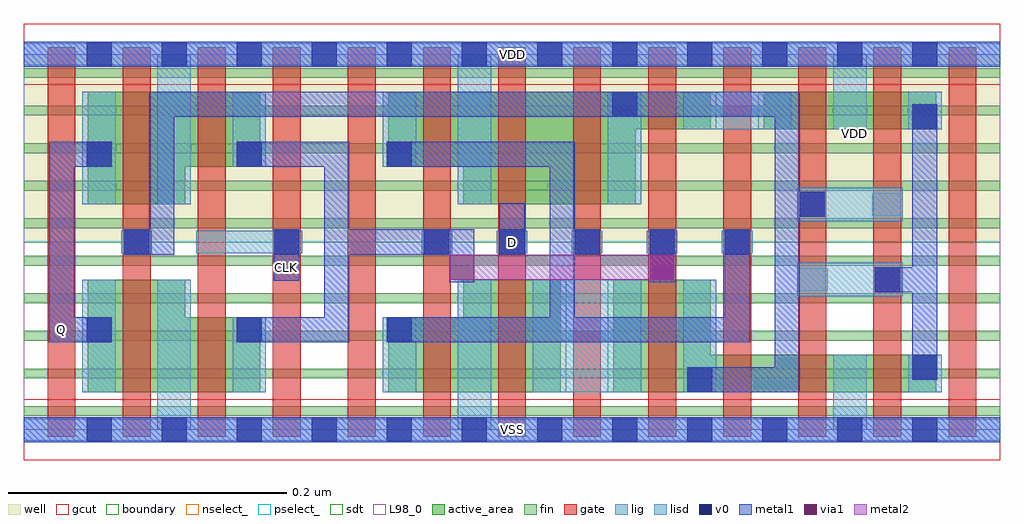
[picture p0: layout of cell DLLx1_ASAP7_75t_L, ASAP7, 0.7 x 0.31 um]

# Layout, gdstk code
import gdstk
lib = gdstk.Library(unit=1e-6, precision=2.5e-10)
def R(c, l, rs):  # rectangles x0, y0, x1, y1
    for r in rs: c.add(gdstk.rectangle(r[:2], r[2:], *l))
def A(c, l, x, y, w, h, nx, ny, dx, dy):  # array of equal rectangles
    R(c, l, [(x+i*dx, y+j*dy, x+i*dx+w, y+j*dy+h) for i in range(nx) for j in range(ny)])
def P(c, l, *ps):  # polygons
    for p in ps: c.add(gdstk.Polygon(p, *l))
well = (1, 0)
fin = (2, 0)
gate = (7, 0)
gcut = (10, 0)
active_area = (11, 0)
nselect_ = (12, 0)
pselect_ = (13, 0)
lig = (16, 0)
lisd = (17, 0)
v0 = (18, 0)
metal1 = (19, 0)
metal2 = (20, 0)
via1 = (21, 0)
sdt = (88, 0)
L98_0 = (98, 0)
boundary = (100, 0)

dllx1_asap7_75t_l = lib.new_cell('DLLx1_ASAP7_75t_L')
R(dllx1_asap7_75t_l, well, [(0,0.135,0.702,0.27)])
A(dllx1_asap7_75t_l, fin, 0, 0.01, 0.702, 0.007, 1, 10, 0, 0.027)
A(dllx1_asap7_75t_l, gate, 0.017, -0.005, 0.02, 0.28, 13, 1, 0.054, 0)
R(dllx1_asap7_75t_l, gcut, [(0,-0.022,0.702,0.022), (0,0.248,0.702,0.292)])
R(dllx1_asap7_75t_l, active_area, [(0.532,0.216,0.656,0.243)])
P(dllx1_asap7_75t_l, active_area, [(0.424,0.027),(0.424,0.108),(0.494,0.108),(0.494,0.054),(0.656,0.054),(0.656,0.027)],
  [(0.262,0.027),(0.262,0.081),(0.316,0.081),(0.316,0.108),(0.386,0.108),(0.386,0.027)],
  [(0.046,0.027),(0.046,0.108),(0.116,0.108),(0.116,0.081),(0.17,0.081),(0.17,0.027)],
  [(0.316,0.162),(0.316,0.189),(0.262,0.189),(0.262,0.243),(0.494,0.243),(0.494,0.216),(0.44,0.216),(0.44,0.162)],
  [(0.046,0.162),(0.046,0.243),(0.17,0.243),(0.17,0.189),(0.116,0.189),(0.116,0.162)])
R(dllx1_asap7_75t_l, nselect_, [(0,0,0.702,0.135)])
R(dllx1_asap7_75t_l, pselect_, [(0,0.135,0.702,0.27)])
A(dllx1_asap7_75t_l, lig, 0.286, 0.127, 0.022, 0.016, 5, 1, 0.054, 0)
R(dllx1_asap7_75t_l, lig, [(0,-0.008,0.702,0.008), (0.556,0.1,0.578,0.116), (0.07,0.127,0.092,0.143), (0.124,0.127,0.2,0.143), (0.61,0.154,0.632,0.17), (0,0.262,0.702,0.278)])
R(dllx1_asap7_75t_l, lisd, [(0.096,0,0.12,0.108), (0.312,0,0.336,0.108), (0.582,0,0.606,0.054), (0.042,0.027,0.066,0.108), (0.15,0.027,0.174,0.081), (0.258,0.027,0.282,0.081), (0.366,0.027,0.444,0.108), (0.474,0.027,0.498,0.108), (0.636,0.027,0.66,0.054), (0.556,0.096,0.632,0.12), (0.556,0.15,0.632,0.174), (0.042,0.162,0.066,0.243), (0.096,0.162,0.12,0.27), (0.312,0.162,0.336,0.27), (0.42,0.162,0.444,0.243), (0.15,0.189,0.174,0.243), (0.258,0.189,0.282,0.243), (0.474,0.216,0.552,0.243), (0.582,0.216,0.606,0.27), (0.636,0.216,0.66,0.243)])
A(dllx1_asap7_75t_l, v0, 0.045, -0.009, 0.018, 0.018, 12, 2, 0.054, 0.27)
A(dllx1_asap7_75t_l, v0, 0.045, 0.063, 0.018, 0.018, 3, 2, 0.108, 0.126)
A(dllx1_asap7_75t_l, v0, 0.072, 0.126, 0.018, 0.018, 3, 1, 0.108, 0)
A(dllx1_asap7_75t_l, v0, 0.342, 0.126, 0.018, 0.018, 4, 1, 0.054, 0)
R(dllx1_asap7_75t_l, v0, [(0.477,0.027,0.495,0.045), (0.639,0.036,0.657,0.054), (0.612,0.099,0.63,0.117), (0.558,0.153,0.576,0.171), (0.639,0.216,0.657,0.234), (0.423,0.225,0.441,0.243)])
R(dllx1_asap7_75t_l, metal1, [(0,-0.009,0.702,0.009), (0.45,0.106,0.468,0.144), (0.18,0.107,0.198,0.144), (0.342,0.126,0.36,0.163), (0,0.261,0.702,0.279)])
P(dllx1_asap7_75t_l, metal1, [(0.261,0.063),(0.261,0.081),(0.378,0.081),(0.378,0.189),(0.261,0.189),(0.261,0.207),(0.396,0.207),(0.396,0.144),(0.414,0.144),(0.414,0.126),(0.396,0.126),(0.396,0.081),(0.504,0.081),(0.504,0.144),(0.522,0.144),(0.522,0.063)],
  [(0.018,0.063),(0.018,0.207),(0.063,0.207),(0.063,0.189),(0.036,0.189),(0.036,0.081),(0.063,0.081),(0.063,0.063)],
  [(0.477,0.027),(0.477,0.045),(0.54,0.045),(0.54,0.225),(0.108,0.225),(0.108,0.126),(0.072,0.126),(0.072,0.144),(0.09,0.144),(0.09,0.243),(0.558,0.243),(0.558,0.171),(0.576,0.171),(0.576,0.153),(0.558,0.153),(0.558,0.027)],
  [(0.639,0.036),(0.639,0.099),(0.612,0.099),(0.612,0.117),(0.639,0.117),(0.639,0.234),(0.657,0.234),(0.657,0.036)],
  [(0.153,0.063),(0.153,0.081),(0.216,0.081),(0.216,0.189),(0.153,0.189),(0.153,0.207),(0.234,0.207),(0.234,0.144),(0.324,0.144),(0.324,0.106),(0.306,0.106),(0.306,0.126),(0.234,0.126),(0.234,0.063)])
R(dllx1_asap7_75t_l, metal2, [(0.306,0.108,0.468,0.126)])
R(dllx1_asap7_75t_l, via1, [(0.306,0.108,0.324,0.126), (0.45,0.108,0.468,0.126)])
A(dllx1_asap7_75t_l, sdt, 0.312, 0.027, 0.024, 0.081, 4, 1, 0.054, 0)
A(dllx1_asap7_75t_l, sdt, 0.474, 0.216, 0.024, 0.027, 4, 1, 0.054, 0)
R(dllx1_asap7_75t_l, sdt, [(0.042,0.027,0.066,0.108), (0.096,0.027,0.12,0.108), (0.15,0.027,0.174,0.081), (0.258,0.027,0.282,0.081), (0.582,0.027,0.606,0.054), (0.636,0.027,0.66,0.054), (0.042,0.162,0.066,0.243), (0.096,0.162,0.12,0.243), (0.312,0.162,0.336,0.243), (0.42,0.162,0.444,0.243), (0.15,0.189,0.174,0.243), (0.258,0.189,0.282,0.243)])
R(dllx1_asap7_75t_l, L98_0, [(0,0,0.702,0.27)])
R(dllx1_asap7_75t_l, boundary, [(0,0,0.702,0.27)])
dllx1_asap7_75t_l.add(gdstk.Label('CLK', (0.189,0.117), layer=19, texttype=251))
dllx1_asap7_75t_l.add(gdstk.Label('D', (0.351,0.135), layer=19, texttype=251))
dllx1_asap7_75t_l.add(gdstk.Label('Q', (0.027,0.072), layer=19, texttype=251))
dllx1_asap7_75t_l.add(gdstk.Label('VSS', (0.351,0), layer=19, texttype=251))
dllx1_asap7_75t_l.add(gdstk.Label('VDD', (0.351,0.27), layer=19, texttype=251))
dllx1_asap7_75t_l.add(gdstk.Label('VDD', (0.597,0.213), layer=1, texttype=251))
dllx1_asap7_75t_l.add(gdstk.Label('VSS', (0.807,0.213), layer=3, texttype=251))

lib.write_gds('DLLx1_ASAP7_75t_L.gds')
